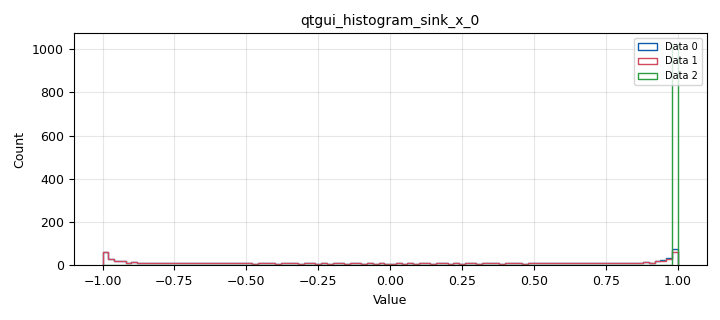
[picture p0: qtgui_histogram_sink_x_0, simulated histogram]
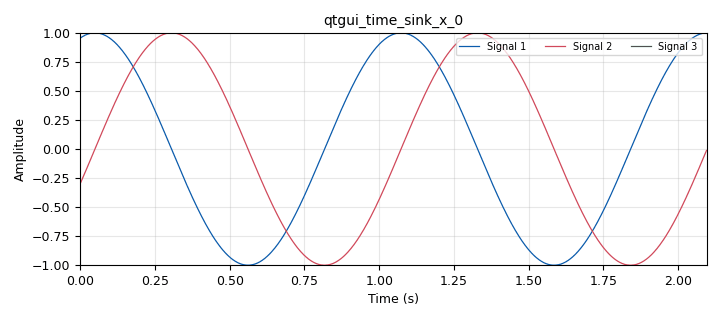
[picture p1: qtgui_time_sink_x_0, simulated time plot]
options:
  parameters:
    generate_options: qt_gui
    id: Reto7
    output_language: python
    title: Not titled yet
  states: {}

blocks:
- name: A
  id: variable_qtgui_range
  parameters:
    start: '0'
    step: '0.01'
    stop: '1'
    value: '1'
  states: {}
- name: N_0
  id: variable_qtgui_range
  parameters:
    start: '0'
    step: '0.01'
    stop: '1'
    value: '0.2'
  states: {}
- name: samp_rate
  id: variable
  parameters:
    value: '500000'
  states: {}
- name: analog_noise_source_x_0
  id: analog_noise_source_x
  parameters:
    amp: N_0
    noise_type: analog.GR_GAUSSIAN
    seed: '0'
    type: complex
  states: {state: disabled}
- name: analog_sig_source_x_0
  id: analog_sig_source_x
  parameters:
    amp: A
    freq: '1000'
    offset: '0'
    phase: '0'
    samp_rate: samp_rate
    type: complex
    waveform: analog.GR_COS_WAVE
  states: {}
- name: blocks_complex_to_float_0
  id: blocks_complex_to_float
  parameters: {}
  states: {}
- name: blocks_complex_to_mag_0
  id: blocks_complex_to_mag
  parameters: {}
  states: {}
- name: blocks_stream_to_vector_decimator_0
  id: blocks_stream_to_vector_decimator
  parameters:
    sample_rate: samp_rate
    type: complex
    vec_rate: '30'
    vlen: '1024'
  states: {}
- name: blocks_throttle2_0
  id: blocks_throttle2
  parameters:
    samples_per_second: samp_rate
    type: complex
  states: {}
- name: epy_block_0
  id: epy_block
  parameters:
    _source_code: "import numpy as np\nfrom gnuradio import gr\n\nclass blk(gr.sync_block):\n    \"\"\"Bloque 1: Estimador de Potencia\"\"\"\n\n    def __init__(self):\n        gr.sync_block.__init__(\n            self,\n            name='Power_Estimator',         # Nombre del bloque\n            in_sig=[(np.complex64, 1024)],  # Entrada: vector complejo de 1024 muestras\n            out_sig=[np.float32]            # Salida: un valor float (potencia promedio)\n        )\n\n    def work(self, input_items, output_items):\n        # input_items[0] es una lista de vectores complejos\n        for i, ventana in enumerate(input_items[0]):\n            potencia = np.mean(np.abs(ventana)**2)\n            output_items[0][i] = potencia\n\n        return len(output_items[0])\n\n"
  states: {}
- name: epy_block_0_0
  id: epy_block
  parameters:
    _source_code: "import numpy as np\nfrom gnuradio import gr\n\nclass blk(gr.sync_block):\n    def __init__(self):\n        gr.sync_block.__init__(\n            self,\n            name='Amplitude Statistics',  # Nombre del bloque\n            in_sig=[(np.complex64, 1024)],\n            out_sig=[np.float32, np.float32]\n        )\n\n    def work(self, input_items, output_items):\n        ventana = input_items[0][0]  # vector complejo\n        magnitudes = np.abs(ventana)\n\n        output_items[0][0] = np.mean(magnitudes)  # media de amplitudes\n        output_items[1][0] = np.std(magnitudes)   # desviación estándar de amplitudes\n        return 1\n\n\n"
  states: {}
- name: qtgui_histogram_sink_x_0
  id: qtgui_histogram_sink_x
  parameters:
    accum: 'True'
    bins: '100'
    grid: 'True'
    nconnections: '3'
    size: '1024'
    type: float
    xmax: '1'
    xmin: '-1'
  states: {}
- name: qtgui_number_sink_0
  id: qtgui_number_sink
  parameters:
    factor1: '1000'
    graph_type: qtgui.NUM_GRAPH_HORIZ
    label1: Potencia
    label2: Media
    label3: Desviacion_Estandar
    nconnections: '3'
    type: float
    unit1: mW
    unit2: V
    unit3: V
  states: {}
- name: qtgui_time_sink_x_0
  id: qtgui_time_sink_x
  parameters:
    nconnections: '3'
    size: '1024'
    srate: samp_rate/1024
    type: float
  states: {}

connections:
- [analog_noise_source_x_0, '0', blocks_throttle2_0, '0']
- [analog_sig_source_x_0, '0', blocks_throttle2_0, '0']
- [blocks_complex_to_float_0, '0', qtgui_histogram_sink_x_0, '0']
- [blocks_complex_to_float_0, '0', qtgui_time_sink_x_0, '0']
- [blocks_complex_to_float_0, '1', qtgui_histogram_sink_x_0, '1']
- [blocks_complex_to_float_0, '1', qtgui_time_sink_x_0, '1']
- [blocks_complex_to_mag_0, '0', qtgui_histogram_sink_x_0, '2']
- [blocks_complex_to_mag_0, '0', qtgui_time_sink_x_0, '2']
- [blocks_stream_to_vector_decimator_0, '0', epy_block_0, '0']
- [blocks_stream_to_vector_decimator_0, '0', epy_block_0_0, '0']
- [blocks_throttle2_0, '0', blocks_complex_to_float_0, '0']
- [blocks_throttle2_0, '0', blocks_complex_to_mag_0, '0']
- [blocks_throttle2_0, '0', blocks_stream_to_vector_decimator_0, '0']
- [epy_block_0, '0', qtgui_number_sink_0, '0']
- [epy_block_0_0, '0', qtgui_number_sink_0, '1']
- [epy_block_0_0, '1', qtgui_number_sink_0, '2']

metadata:
  file_format: 1
  grc_version: v3.10.11.0-89-ga17f69e7
